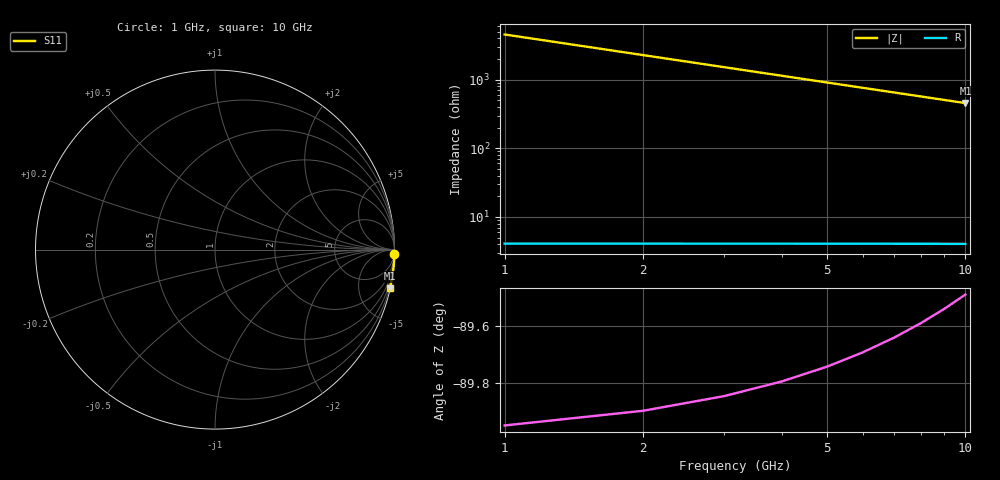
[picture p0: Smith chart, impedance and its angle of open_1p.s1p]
! Created with skrf (http://scikit-rf.org).
# Hz S RI R 50.0
!freq ReS11 ImS11
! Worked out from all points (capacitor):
!   10 points, 1 GHz to 10 GHz, reference 50 ohm
!   read as one part to ground: C = 35 fF near 1 GHz
!   lowest |Z| = 455 ohm at 10 GHz (marker M1)
1e9  0.9997 -0.022
2e9  0.999 -0.044
3e9  0.9976 -0.0659
4e9  0.9958 -0.0878
5e9  0.9935 -0.1095
6e9  0.9906 -0.1312
7e9  0.9873 -0.1528
8e9  0.9834 -0.1743
9e9  0.9791 -0.1955
1e10  0.9743 -0.2167
